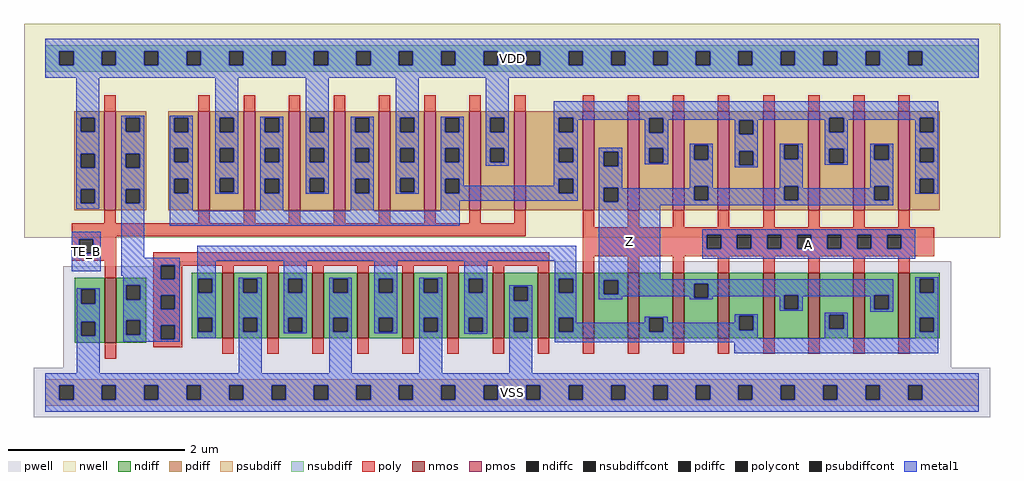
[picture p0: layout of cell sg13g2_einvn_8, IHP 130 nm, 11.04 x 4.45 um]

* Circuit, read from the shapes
.subckt sg13g2_einvn_8 A Z TE_B VDD VSS
XM1 n1 TE_B VSS VSS sg13_lv_nmos w=0.74u l=0.13u
XM2 VSS n1 n2 VSS sg13_lv_nmos w=0.74u l=0.13u m=8
XM3 Z A n2 VSS sg13_lv_nmos w=0.74u l=0.13u m=8
XM4 n1 TE_B VDD VDD sg13_lv_pmos w=1.12u l=0.13u
XM5 VDD TE_B n3 VDD sg13_lv_pmos w=1.12u l=0.13u m=8
XM6 Z A n3 VDD sg13_lv_pmos w=1.12u l=0.13u m=8
.ends

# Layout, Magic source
magic
tech ihp-sg13g2
magscale 1 2
<< nwell >>
rect -48 350 2160 834
<< pwell >>
rect 306 286 2050 297
rect 41 56 2050 286
rect -26 -56 2138 56
<< nmos >>
rect 135 112 161 260
rect 400 123 426 271
rect 502 123 528 271
rect 604 123 630 271
rect 706 123 732 271
rect 808 123 834 271
rect 910 123 936 271
rect 1012 123 1038 271
rect 1114 123 1140 271
rect 1216 123 1242 271
rect 1318 123 1344 271
rect 1420 123 1446 271
rect 1522 123 1548 271
rect 1624 123 1650 271
rect 1726 123 1752 271
rect 1828 123 1854 271
rect 1930 123 1956 271
<< pmos >>
rect 134 412 160 636
rect 346 412 372 636
rect 449 412 475 636
rect 551 412 577 636
rect 653 412 679 636
rect 755 412 781 636
rect 857 412 883 636
rect 959 412 985 636
rect 1061 412 1087 636
rect 1216 412 1242 636
rect 1318 412 1344 636
rect 1420 412 1446 636
rect 1522 412 1548 636
rect 1624 412 1650 636
rect 1726 412 1752 636
rect 1828 412 1854 636
rect 1930 412 1956 636
<< ndiff >>
rect 67 233 135 260
rect 67 201 81 233
rect 113 201 135 233
rect 67 160 135 201
rect 67 128 81 160
rect 113 128 135 160
rect 67 112 135 128
rect 161 242 229 260
rect 161 210 183 242
rect 215 210 229 242
rect 161 163 229 210
rect 161 131 183 163
rect 215 131 229 163
rect 161 112 229 131
rect 332 257 400 271
rect 332 225 346 257
rect 378 225 400 257
rect 332 169 400 225
rect 332 137 346 169
rect 378 137 400 169
rect 332 123 400 137
rect 426 257 502 271
rect 426 225 448 257
rect 480 225 502 257
rect 426 169 502 225
rect 426 137 448 169
rect 480 137 502 169
rect 426 123 502 137
rect 528 257 604 271
rect 528 225 550 257
rect 582 225 604 257
rect 528 169 604 225
rect 528 137 550 169
rect 582 137 604 169
rect 528 123 604 137
rect 630 257 706 271
rect 630 225 652 257
rect 684 225 706 257
rect 630 169 706 225
rect 630 137 652 169
rect 684 137 706 169
rect 630 123 706 137
rect 732 257 808 271
rect 732 225 754 257
rect 786 225 808 257
rect 732 169 808 225
rect 732 137 754 169
rect 786 137 808 169
rect 732 123 808 137
rect 834 257 910 271
rect 834 225 856 257
rect 888 225 910 257
rect 834 169 910 225
rect 834 137 856 169
rect 888 137 910 169
rect 834 123 910 137
rect 936 257 1012 271
rect 936 225 958 257
rect 990 225 1012 257
rect 936 169 1012 225
rect 936 137 958 169
rect 990 137 1012 169
rect 936 123 1012 137
rect 1038 239 1114 271
rect 1038 207 1060 239
rect 1092 207 1114 239
rect 1038 169 1114 207
rect 1038 137 1060 169
rect 1092 137 1114 169
rect 1038 123 1114 137
rect 1140 257 1216 271
rect 1140 225 1162 257
rect 1194 225 1216 257
rect 1140 169 1216 225
rect 1140 137 1162 169
rect 1194 137 1216 169
rect 1140 123 1216 137
rect 1242 254 1318 271
rect 1242 222 1264 254
rect 1296 222 1318 254
rect 1242 123 1318 222
rect 1344 169 1420 271
rect 1344 137 1366 169
rect 1398 137 1420 169
rect 1344 123 1420 137
rect 1446 246 1522 271
rect 1446 214 1468 246
rect 1500 214 1522 246
rect 1446 123 1522 214
rect 1548 173 1624 271
rect 1548 141 1570 173
rect 1602 141 1624 173
rect 1548 123 1624 141
rect 1650 220 1726 271
rect 1650 188 1672 220
rect 1704 188 1726 220
rect 1650 123 1726 188
rect 1752 176 1828 271
rect 1752 144 1774 176
rect 1806 144 1828 176
rect 1752 123 1828 144
rect 1854 220 1930 271
rect 1854 188 1876 220
rect 1908 188 1930 220
rect 1854 123 1930 188
rect 1956 257 2024 271
rect 1956 225 1978 257
rect 2010 225 2024 257
rect 1956 169 2024 225
rect 1956 137 1978 169
rect 2010 137 2024 169
rect 1956 123 2024 137
<< pdiff >>
rect 66 622 134 636
rect 66 590 80 622
rect 112 590 134 622
rect 66 540 134 590
rect 66 508 80 540
rect 112 508 134 540
rect 66 460 134 508
rect 66 428 80 460
rect 112 428 134 460
rect 66 412 134 428
rect 160 622 228 636
rect 160 590 182 622
rect 214 590 228 622
rect 160 540 228 590
rect 160 508 182 540
rect 214 508 228 540
rect 160 460 228 508
rect 160 428 182 460
rect 214 428 228 460
rect 160 412 228 428
rect 278 621 346 636
rect 278 589 292 621
rect 324 589 346 621
rect 278 553 346 589
rect 278 521 292 553
rect 324 521 346 553
rect 278 483 346 521
rect 278 451 292 483
rect 324 451 346 483
rect 278 412 346 451
rect 372 621 449 636
rect 372 589 395 621
rect 427 589 449 621
rect 372 553 449 589
rect 372 521 395 553
rect 427 521 449 553
rect 372 485 449 521
rect 372 453 395 485
rect 427 453 449 485
rect 372 412 449 453
rect 475 621 551 636
rect 475 589 497 621
rect 529 589 551 621
rect 475 553 551 589
rect 475 521 497 553
rect 529 521 551 553
rect 475 483 551 521
rect 475 451 497 483
rect 529 451 551 483
rect 475 412 551 451
rect 577 621 653 636
rect 577 589 599 621
rect 631 589 653 621
rect 577 553 653 589
rect 577 521 599 553
rect 631 521 653 553
rect 577 485 653 521
rect 577 453 599 485
rect 631 453 653 485
rect 577 412 653 453
rect 679 621 755 636
rect 679 589 701 621
rect 733 589 755 621
rect 679 553 755 589
rect 679 521 701 553
rect 733 521 755 553
rect 679 483 755 521
rect 679 451 701 483
rect 733 451 755 483
rect 679 412 755 451
rect 781 621 857 636
rect 781 589 803 621
rect 835 589 857 621
rect 781 553 857 589
rect 781 521 803 553
rect 835 521 857 553
rect 781 485 857 521
rect 781 453 803 485
rect 835 453 857 485
rect 781 412 857 453
rect 883 621 959 636
rect 883 589 905 621
rect 937 589 959 621
rect 883 553 959 589
rect 883 521 905 553
rect 937 521 959 553
rect 883 483 959 521
rect 883 451 905 483
rect 937 451 959 483
rect 883 412 959 451
rect 985 621 1061 636
rect 985 589 1007 621
rect 1039 589 1061 621
rect 985 553 1061 589
rect 985 521 1007 553
rect 1039 521 1061 553
rect 985 412 1061 521
rect 1087 621 1216 636
rect 1087 589 1162 621
rect 1194 589 1216 621
rect 1087 553 1216 589
rect 1087 521 1162 553
rect 1194 521 1216 553
rect 1087 483 1216 521
rect 1087 451 1162 483
rect 1194 451 1216 483
rect 1087 412 1216 451
rect 1242 544 1318 636
rect 1242 512 1264 544
rect 1296 512 1318 544
rect 1242 463 1318 512
rect 1242 431 1264 463
rect 1296 431 1318 463
rect 1242 412 1318 431
rect 1344 620 1420 636
rect 1344 588 1366 620
rect 1398 588 1420 620
rect 1344 552 1420 588
rect 1344 520 1366 552
rect 1398 520 1420 552
rect 1344 412 1420 520
rect 1446 559 1522 636
rect 1446 527 1468 559
rect 1500 527 1522 559
rect 1446 467 1522 527
rect 1446 435 1468 467
rect 1500 435 1522 467
rect 1446 412 1522 435
rect 1548 616 1624 636
rect 1548 584 1570 616
rect 1602 584 1624 616
rect 1548 546 1624 584
rect 1548 514 1570 546
rect 1602 514 1624 546
rect 1548 412 1624 514
rect 1650 560 1726 636
rect 1650 528 1672 560
rect 1704 528 1726 560
rect 1650 467 1726 528
rect 1650 435 1672 467
rect 1704 435 1726 467
rect 1650 412 1726 435
rect 1752 621 1828 636
rect 1752 589 1774 621
rect 1806 589 1828 621
rect 1752 551 1828 589
rect 1752 519 1774 551
rect 1806 519 1828 551
rect 1752 412 1828 519
rect 1854 559 1930 636
rect 1854 527 1876 559
rect 1908 527 1930 559
rect 1854 467 1930 527
rect 1854 435 1876 467
rect 1908 435 1930 467
rect 1854 412 1930 435
rect 1956 621 2024 636
rect 1956 589 1978 621
rect 2010 589 2024 621
rect 1956 553 2024 589
rect 1956 521 1978 553
rect 2010 521 2024 553
rect 1956 483 2024 521
rect 1956 451 1978 483
rect 2010 451 2024 483
rect 1956 412 2024 451
<< ndiffc >>
rect 81 201 113 233
rect 81 128 113 160
rect 183 210 215 242
rect 183 131 215 163
rect 346 225 378 257
rect 346 137 378 169
rect 448 225 480 257
rect 448 137 480 169
rect 550 225 582 257
rect 550 137 582 169
rect 652 225 684 257
rect 652 137 684 169
rect 754 225 786 257
rect 754 137 786 169
rect 856 225 888 257
rect 856 137 888 169
rect 958 225 990 257
rect 958 137 990 169
rect 1060 207 1092 239
rect 1060 137 1092 169
rect 1162 225 1194 257
rect 1162 137 1194 169
rect 1264 222 1296 254
rect 1366 137 1398 169
rect 1468 214 1500 246
rect 1570 141 1602 173
rect 1672 188 1704 220
rect 1774 144 1806 176
rect 1876 188 1908 220
rect 1978 225 2010 257
rect 1978 137 2010 169
<< pdiffc >>
rect 80 590 112 622
rect 80 508 112 540
rect 80 428 112 460
rect 182 590 214 622
rect 182 508 214 540
rect 182 428 214 460
rect 292 589 324 621
rect 292 521 324 553
rect 292 451 324 483
rect 395 589 427 621
rect 395 521 427 553
rect 395 453 427 485
rect 497 589 529 621
rect 497 521 529 553
rect 497 451 529 483
rect 599 589 631 621
rect 599 521 631 553
rect 599 453 631 485
rect 701 589 733 621
rect 701 521 733 553
rect 701 451 733 483
rect 803 589 835 621
rect 803 521 835 553
rect 803 453 835 485
rect 905 589 937 621
rect 905 521 937 553
rect 905 451 937 483
rect 1007 589 1039 621
rect 1007 521 1039 553
rect 1162 589 1194 621
rect 1162 521 1194 553
rect 1162 451 1194 483
rect 1264 512 1296 544
rect 1264 431 1296 463
rect 1366 588 1398 620
rect 1366 520 1398 552
rect 1468 527 1500 559
rect 1468 435 1500 467
rect 1570 584 1602 616
rect 1570 514 1602 546
rect 1672 528 1704 560
rect 1672 435 1704 467
rect 1774 589 1806 621
rect 1774 519 1806 551
rect 1876 527 1908 559
rect 1876 435 1908 467
rect 1978 589 2010 621
rect 1978 521 2010 553
rect 1978 451 2010 483
<< psubdiff >>
rect 0 16 2112 30
rect 0 -16 32 16
rect 64 -16 128 16
rect 160 -16 224 16
rect 256 -16 320 16
rect 352 -16 416 16
rect 448 -16 512 16
rect 544 -16 608 16
rect 640 -16 704 16
rect 736 -16 800 16
rect 832 -16 896 16
rect 928 -16 992 16
rect 1024 -16 1088 16
rect 1120 -16 1184 16
rect 1216 -16 1280 16
rect 1312 -16 1376 16
rect 1408 -16 1472 16
rect 1504 -16 1568 16
rect 1600 -16 1664 16
rect 1696 -16 1760 16
rect 1792 -16 1856 16
rect 1888 -16 1952 16
rect 1984 -16 2112 16
rect 0 -30 2112 -16
<< nsubdiff >>
rect 0 772 2112 786
rect 0 740 32 772
rect 64 740 128 772
rect 160 740 224 772
rect 256 740 320 772
rect 352 740 416 772
rect 448 740 512 772
rect 544 740 608 772
rect 640 740 704 772
rect 736 740 800 772
rect 832 740 896 772
rect 928 740 992 772
rect 1024 740 1088 772
rect 1120 740 1184 772
rect 1216 740 1280 772
rect 1312 740 1376 772
rect 1408 740 1472 772
rect 1504 740 1568 772
rect 1600 740 1664 772
rect 1696 740 1760 772
rect 1792 740 1856 772
rect 1888 740 1952 772
rect 1984 740 2112 772
rect 0 726 2112 740
<< psubdiffcont >>
rect 32 -16 64 16
rect 128 -16 160 16
rect 224 -16 256 16
rect 320 -16 352 16
rect 416 -16 448 16
rect 512 -16 544 16
rect 608 -16 640 16
rect 704 -16 736 16
rect 800 -16 832 16
rect 896 -16 928 16
rect 992 -16 1024 16
rect 1088 -16 1120 16
rect 1184 -16 1216 16
rect 1280 -16 1312 16
rect 1376 -16 1408 16
rect 1472 -16 1504 16
rect 1568 -16 1600 16
rect 1664 -16 1696 16
rect 1760 -16 1792 16
rect 1856 -16 1888 16
rect 1952 -16 1984 16
<< nsubdiffcont >>
rect 32 740 64 772
rect 128 740 160 772
rect 224 740 256 772
rect 320 740 352 772
rect 416 740 448 772
rect 512 740 544 772
rect 608 740 640 772
rect 704 740 736 772
rect 800 740 832 772
rect 896 740 928 772
rect 992 740 1024 772
rect 1088 740 1120 772
rect 1184 740 1216 772
rect 1280 740 1312 772
rect 1376 740 1408 772
rect 1472 740 1504 772
rect 1568 740 1600 772
rect 1664 740 1696 772
rect 1760 740 1792 772
rect 1856 740 1888 772
rect 1952 740 1984 772
<< poly >>
rect 134 636 160 672
rect 346 636 372 672
rect 449 636 475 672
rect 551 636 577 672
rect 653 636 679 672
rect 755 636 781 672
rect 857 636 883 672
rect 959 636 985 672
rect 1061 636 1087 672
rect 1216 636 1242 672
rect 1318 636 1344 672
rect 1420 636 1446 672
rect 1522 636 1548 672
rect 1624 636 1650 672
rect 1726 636 1752 672
rect 1828 636 1854 672
rect 1930 636 1956 672
rect 134 383 160 412
rect 346 383 372 412
rect 449 383 475 412
rect 551 383 577 412
rect 653 383 679 412
rect 755 383 781 412
rect 857 383 883 412
rect 959 383 985 412
rect 1061 383 1087 412
rect 60 353 1087 383
rect 1216 374 1242 412
rect 1318 374 1344 412
rect 1420 374 1446 412
rect 1522 374 1548 412
rect 1624 374 1650 412
rect 1726 374 1752 412
rect 1828 374 1854 412
rect 1930 374 1956 412
rect 1216 357 2011 374
rect 60 347 161 353
rect 60 315 77 347
rect 109 315 161 347
rect 1216 325 1497 357
rect 1529 325 1565 357
rect 1597 325 1633 357
rect 1665 325 1701 357
rect 1733 325 1769 357
rect 1801 325 1837 357
rect 1869 325 1905 357
rect 1937 325 2011 357
rect 60 298 161 315
rect 135 260 161 298
rect 244 288 1140 317
rect 244 256 261 288
rect 293 287 1140 288
rect 293 256 310 287
rect 400 271 426 287
rect 502 271 528 287
rect 604 271 630 287
rect 706 271 732 287
rect 808 271 834 287
rect 910 271 936 287
rect 1012 271 1038 287
rect 1114 271 1140 287
rect 1216 308 2011 325
rect 1216 271 1242 308
rect 1318 271 1344 308
rect 1420 271 1446 308
rect 1522 271 1548 308
rect 1624 271 1650 308
rect 1726 271 1752 308
rect 1828 271 1854 308
rect 1930 271 1956 308
rect 244 220 310 256
rect 244 188 261 220
rect 293 188 310 220
rect 244 152 310 188
rect 244 120 261 152
rect 293 120 310 152
rect 135 76 161 112
rect 244 102 310 120
rect 400 87 426 123
rect 502 87 528 123
rect 604 87 630 123
rect 706 87 732 123
rect 808 87 834 123
rect 910 87 936 123
rect 1012 87 1038 123
rect 1114 87 1140 123
rect 1216 87 1242 123
rect 1318 87 1344 123
rect 1420 87 1446 123
rect 1522 87 1548 123
rect 1624 87 1650 123
rect 1726 87 1752 123
rect 1828 87 1854 123
rect 1930 87 1956 123
<< polycont >>
rect 77 315 109 347
rect 1497 325 1529 357
rect 1565 325 1597 357
rect 1633 325 1665 357
rect 1701 325 1733 357
rect 1769 325 1801 357
rect 1837 325 1869 357
rect 1905 325 1937 357
rect 261 256 293 288
rect 261 188 293 220
rect 261 120 293 152
<< metal1 >>
rect 0 772 2112 800
rect 0 740 32 772
rect 64 740 128 772
rect 160 740 224 772
rect 256 740 320 772
rect 352 740 416 772
rect 448 740 512 772
rect 544 740 608 772
rect 640 740 704 772
rect 736 740 800 772
rect 832 740 896 772
rect 928 740 992 772
rect 1024 740 1088 772
rect 1120 740 1184 772
rect 1216 740 1280 772
rect 1312 740 1376 772
rect 1408 740 1472 772
rect 1504 740 1568 772
rect 1600 740 1664 772
rect 1696 740 1760 772
rect 1792 740 1856 772
rect 1888 740 1952 772
rect 1984 740 2112 772
rect 0 712 2112 740
rect 70 622 122 712
rect 70 590 80 622
rect 112 590 122 622
rect 70 540 122 590
rect 70 508 80 540
rect 112 508 122 540
rect 70 460 122 508
rect 70 428 80 460
rect 112 428 122 460
rect 70 416 122 428
rect 172 622 224 626
rect 172 590 182 622
rect 214 590 224 622
rect 172 540 224 590
rect 172 508 182 540
rect 214 508 224 540
rect 172 460 224 508
rect 172 428 182 460
rect 214 428 224 460
rect 60 347 126 364
rect 60 315 77 347
rect 109 315 126 347
rect 60 274 126 315
rect 172 305 224 428
rect 282 621 334 626
rect 282 589 292 621
rect 324 589 334 621
rect 282 553 334 589
rect 282 521 292 553
rect 324 521 334 553
rect 282 483 334 521
rect 282 451 292 483
rect 324 451 334 483
rect 282 411 334 451
rect 385 621 437 712
rect 385 589 395 621
rect 427 589 437 621
rect 385 553 437 589
rect 385 521 395 553
rect 427 521 437 553
rect 385 485 437 521
rect 385 453 395 485
rect 427 453 437 485
rect 385 449 437 453
rect 487 621 539 624
rect 487 589 497 621
rect 529 589 539 621
rect 487 553 539 589
rect 487 521 497 553
rect 529 521 539 553
rect 487 483 539 521
rect 487 451 497 483
rect 529 451 539 483
rect 487 411 539 451
rect 589 621 641 712
rect 589 589 599 621
rect 631 589 641 621
rect 589 553 641 589
rect 589 521 599 553
rect 631 521 641 553
rect 589 485 641 521
rect 589 453 599 485
rect 631 453 641 485
rect 589 449 641 453
rect 691 621 743 624
rect 691 589 701 621
rect 733 589 743 621
rect 691 553 743 589
rect 691 521 701 553
rect 733 521 743 553
rect 691 483 743 521
rect 691 451 701 483
rect 733 451 743 483
rect 691 411 743 451
rect 793 621 845 712
rect 793 589 803 621
rect 835 589 845 621
rect 793 553 845 589
rect 793 521 803 553
rect 835 521 845 553
rect 793 485 845 521
rect 793 453 803 485
rect 835 453 845 485
rect 793 449 845 453
rect 895 621 947 624
rect 895 589 905 621
rect 937 589 947 621
rect 895 553 947 589
rect 895 521 905 553
rect 937 521 947 553
rect 895 483 947 521
rect 997 621 1049 712
rect 997 589 1007 621
rect 1039 589 1049 621
rect 997 553 1049 589
rect 997 521 1007 553
rect 1039 521 1049 553
rect 997 513 1049 521
rect 1150 621 2020 659
rect 1150 589 1162 621
rect 1194 620 1774 621
rect 1194 617 1366 620
rect 1194 589 1205 617
rect 1150 553 1205 589
rect 1356 588 1366 617
rect 1398 617 1774 620
rect 1398 588 1409 617
rect 1150 521 1162 553
rect 1194 521 1205 553
rect 895 451 905 483
rect 937 468 947 483
rect 1150 483 1205 521
rect 1150 468 1162 483
rect 937 451 1162 468
rect 1194 451 1205 483
rect 895 434 1205 451
rect 1252 544 1305 554
rect 1252 512 1264 544
rect 1296 512 1305 544
rect 1356 552 1409 588
rect 1560 616 1612 617
rect 1560 584 1570 616
rect 1602 584 1612 616
rect 1356 520 1366 552
rect 1398 520 1409 552
rect 1356 516 1409 520
rect 1458 559 1510 563
rect 1458 527 1468 559
rect 1500 527 1510 559
rect 1252 463 1305 512
rect 895 411 938 434
rect 282 377 938 411
rect 1252 431 1264 463
rect 1296 462 1305 463
rect 1458 467 1510 527
rect 1560 546 1612 584
rect 1764 589 1774 617
rect 1806 617 1978 621
rect 1806 589 1816 617
rect 1560 514 1570 546
rect 1602 514 1612 546
rect 1560 510 1612 514
rect 1662 560 1714 563
rect 1662 528 1672 560
rect 1704 528 1714 560
rect 1458 462 1468 467
rect 1296 435 1468 462
rect 1500 462 1510 467
rect 1662 467 1714 528
rect 1764 551 1816 589
rect 1968 589 1978 617
rect 2010 589 2020 621
rect 1764 519 1774 551
rect 1806 519 1816 551
rect 1764 515 1816 519
rect 1866 559 1918 563
rect 1866 527 1876 559
rect 1908 527 1918 559
rect 1662 462 1672 467
rect 1500 435 1672 462
rect 1704 462 1714 467
rect 1866 467 1918 527
rect 1866 462 1876 467
rect 1704 435 1876 462
rect 1908 435 1918 467
rect 1968 553 2020 589
rect 1968 521 1978 553
rect 2010 521 2020 553
rect 1968 483 2020 521
rect 1968 451 1978 483
rect 2010 451 2020 483
rect 1968 449 2020 451
rect 1296 431 1918 435
rect 1252 424 1918 431
rect 172 288 304 305
rect 172 264 261 288
rect 176 256 261 264
rect 293 256 304 288
rect 176 242 304 256
rect 71 233 123 236
rect 71 201 81 233
rect 113 201 123 233
rect 71 160 123 201
rect 71 128 81 160
rect 113 128 123 160
rect 71 44 123 128
rect 176 210 183 242
rect 215 220 304 242
rect 215 210 261 220
rect 176 188 261 210
rect 293 188 304 220
rect 176 163 304 188
rect 176 131 183 163
rect 215 152 304 163
rect 215 131 261 152
rect 176 120 261 131
rect 293 120 304 152
rect 344 298 1201 332
rect 344 257 386 298
rect 344 225 346 257
rect 378 225 386 257
rect 344 169 386 225
rect 344 137 346 169
rect 378 137 386 169
rect 344 123 386 137
rect 438 257 490 260
rect 438 225 448 257
rect 480 225 490 257
rect 438 169 490 225
rect 438 137 448 169
rect 480 137 490 169
rect 176 115 304 120
rect 438 44 490 137
rect 540 257 592 298
rect 540 225 550 257
rect 582 225 592 257
rect 540 169 592 225
rect 540 137 550 169
rect 582 137 592 169
rect 540 134 592 137
rect 642 257 694 260
rect 642 225 652 257
rect 684 225 694 257
rect 642 169 694 225
rect 642 137 652 169
rect 684 137 694 169
rect 642 44 694 137
rect 744 257 796 298
rect 744 225 754 257
rect 786 225 796 257
rect 744 169 796 225
rect 744 137 754 169
rect 786 137 796 169
rect 744 134 796 137
rect 846 257 898 260
rect 846 225 856 257
rect 888 225 898 257
rect 846 169 898 225
rect 846 137 856 169
rect 888 137 898 169
rect 846 44 898 137
rect 948 257 1000 298
rect 948 225 958 257
rect 990 225 1000 257
rect 1153 257 1201 298
rect 948 169 1000 225
rect 948 137 958 169
rect 990 137 1000 169
rect 948 133 1000 137
rect 1050 239 1102 242
rect 1050 207 1060 239
rect 1092 207 1102 239
rect 1050 169 1102 207
rect 1050 137 1060 169
rect 1092 137 1102 169
rect 1050 44 1102 137
rect 1153 225 1162 257
rect 1194 225 1201 257
rect 1153 169 1201 225
rect 1252 256 1391 424
rect 1486 357 1968 369
rect 1486 325 1497 357
rect 1529 325 1565 357
rect 1597 325 1633 357
rect 1665 325 1701 357
rect 1733 325 1769 357
rect 1801 325 1837 357
rect 1869 325 1905 357
rect 1937 325 1968 357
rect 1486 302 1968 325
rect 1968 257 2020 261
rect 1252 254 1918 256
rect 1252 222 1264 254
rect 1296 246 1918 254
rect 1296 222 1468 246
rect 1252 218 1468 222
rect 1252 211 1305 218
rect 1458 214 1468 218
rect 1500 220 1918 246
rect 1500 218 1672 220
rect 1500 214 1510 218
rect 1458 211 1510 214
rect 1662 188 1672 218
rect 1704 218 1876 220
rect 1704 188 1714 218
rect 1662 185 1714 188
rect 1866 188 1876 218
rect 1908 188 1918 220
rect 1866 183 1918 188
rect 1968 225 1978 257
rect 2010 225 2020 257
rect 1560 173 1612 177
rect 1153 137 1162 169
rect 1194 158 1201 169
rect 1356 169 1408 171
rect 1356 158 1366 169
rect 1194 137 1366 158
rect 1398 158 1408 169
rect 1560 158 1570 173
rect 1398 141 1570 158
rect 1602 141 1612 173
rect 1398 137 1612 141
rect 1153 123 1612 137
rect 1764 176 1816 180
rect 1764 144 1774 176
rect 1806 144 1816 176
rect 1764 123 1816 144
rect 1968 169 2020 225
rect 1968 137 1978 169
rect 2010 137 2020 169
rect 1968 123 2020 137
rect 1153 114 2020 123
rect 1559 89 2020 114
rect 0 16 2112 44
rect 0 -16 32 16
rect 64 -16 128 16
rect 160 -16 224 16
rect 256 -16 320 16
rect 352 -16 416 16
rect 448 -16 512 16
rect 544 -16 608 16
rect 640 -16 704 16
rect 736 -16 800 16
rect 832 -16 896 16
rect 928 -16 992 16
rect 1024 -16 1088 16
rect 1120 -16 1184 16
rect 1216 -16 1280 16
rect 1312 -16 1376 16
rect 1408 -16 1472 16
rect 1504 -16 1568 16
rect 1600 -16 1664 16
rect 1696 -16 1760 16
rect 1792 -16 1856 16
rect 1888 -16 1952 16
rect 1984 -16 2112 16
rect 0 -44 2112 -16
<< labels >>
flabel metal1 s 1486 302 1968 369 0 FreeSans 400 0 0 0 A
port 2 nsew
flabel metal1 s 1252 261 1391 420 0 FreeSans 400 0 0 0 Z
port 3 nsew
flabel metal1 s 60 274 126 364 0 FreeSans 400 0 0 0 TE_B
port 4 nsew
flabel metal1 s 0 712 2112 800 0 FreeSans 400 0 0 0 VDD
port 5 nsew
flabel metal1 s 0 -44 2112 44 0 FreeSans 400 0 0 0 VSS
port 6 nsew
<< properties >>
string FIXED_BBOX 0 0 2112 756
<< end >>
